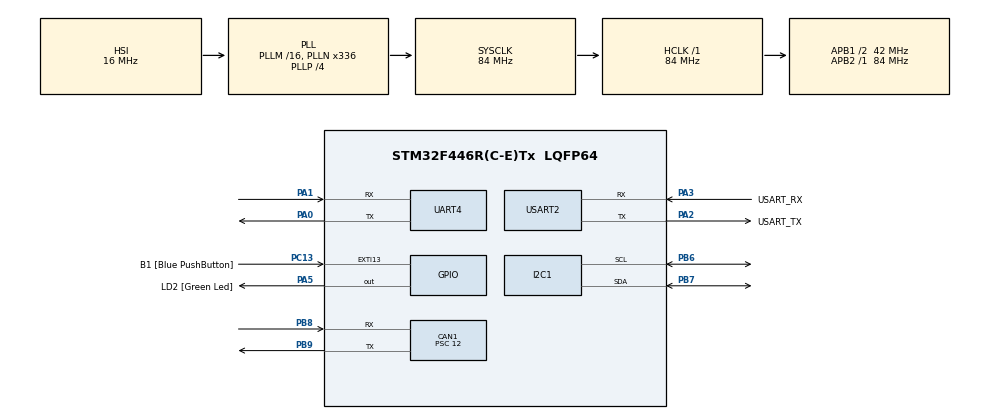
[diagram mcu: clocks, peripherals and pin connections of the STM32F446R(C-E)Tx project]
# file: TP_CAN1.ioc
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CAN1.BS1=CAN_BS1_3TQ
CAN1.BS2=CAN_BS2_3TQ
CAN1.CalculateBaudRate=500000
CAN1.CalculateTimeBit=2000
CAN1.CalculateTimeQuantum=285.7142857142857
CAN1.Prescaler=12
Mcu.Family=STM32F4
Mcu.Name=STM32F446R(C-E)Tx
Mcu.Package=LQFP64
NVIC.PriorityGroup=NVIC_PRIORITYGROUP_0
NVIC.UART4_IRQn=true\:0\:0\:false\:false\:true\:true\:true\:true
PA0-WKUP.Mode=Asynchronous
PA0-WKUP.Signal=UART4_TX
PA1.Mode=Asynchronous
PA1.Signal=UART4_RX
PA13.GPIO_Label=TMS
PA13.Mode=Serial_Wire
PA13.Signal=SYS_JTMS-SWDIO
PA14.GPIO_Label=TCK
PA14.Mode=Serial_Wire
PA14.Signal=SYS_JTCK-SWCLK
PA2.GPIO_Label=USART_TX
PA2.Mode=Asynchronous
PA2.Signal=USART2_TX
PA3.GPIO_Label=USART_RX
PA3.Mode=Asynchronous
PA3.Signal=USART2_RX
PA5.GPIO_Label=LD2 [Green Led]
PA5.Signal=GPIO_Output
PB3.GPIO_Label=SWO
PB3.Signal=SYS_JTDO-SWO
PB6.Mode=I2C
PB6.Signal=I2C1_SCL
PB7.Mode=I2C
PB7.Signal=I2C1_SDA
PB8.Mode=CAN_Activate
PB8.Signal=CAN1_RX
PB9.Mode=CAN_Activate
PB9.Signal=CAN1_TX
PC13.GPIO_Label=B1 [Blue PushButton]
PC13.GPIO_ModeDefaultEXTI=GPIO_MODE_IT_FALLING
PC13.Signal=GPXTI13
PC14-OSC32_IN.Mode=LSE-External-Oscillator
PC14-OSC32_IN.Signal=RCC_OSC32_IN
PC15-OSC32_OUT.Mode=LSE-External-Oscillator
PC15-OSC32_OUT.Signal=RCC_OSC32_OUT
PH0-OSC_IN.Mode=HSE-External-Oscillator
PH0-OSC_IN.Signal=RCC_OSC_IN
PH1-OSC_OUT.Mode=HSE-External-Oscillator
PH1-OSC_OUT.Signal=RCC_OSC_OUT
ProjectManager.HeapSize=0x200
ProjectManager.StackSize=0x400
ProjectManager.TargetToolchain=STM32CubeIDE
RCC.48MHZClocksFreq_Value=84000000
RCC.AHBFreq_Value=84000000
RCC.APB1CLKDivider=RCC_HCLK_DIV2
RCC.APB1Freq_Value=42000000
RCC.APB1TimFreq_Value=84000000
RCC.APB2Freq_Value=84000000
RCC.APB2TimFreq_Value=84000000
RCC.CortexFreq_Value=84000000
RCC.FLatency-AdvancedSettings=FLASH_LATENCY_2
RCC.HCLKFreq_Value=84000000
RCC.HSE_VALUE=8000000
RCC.HSI_VALUE=16000000
RCC.PLLN=336
RCC.PLLP=RCC_PLLP_DIV4
RCC.SYSCLKFreq_VALUE=84000000
RCC.SYSCLKSource=RCC_SYSCLKSOURCE_PLLCLK
RCC.USBFreq_Value=168000000
RCC.VCOOutputFreq_Value=336000000
UART4.VirtualMode=Asynchronous
USART2.VirtualMode=VM_ASYNC
board=NUCLEO-F446RE

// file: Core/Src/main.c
/* USER CODE BEGIN Header */
/**
 ******************************************************************************
 * @file           : main.c
 * @brief          : Main program body
 ******************************************************************************
 * @attention
 *
 * Copyright (c) 2023 STMicroelectronics.
 * All rights reserved.
 *
 * This software is licensed under terms that can be found in the LICENSE file
 * in the root directory of this software component.
 * If no LICENSE file comes with this software, it is provided AS-IS.
 *
 ******************************************************************************
 */
/* USER CODE END Header */
#include "main.h"
#include "can.h"
#include "i2c.h"
#include "usart.h"
#include "gpio.h"

/* USER CODE BEGIN Includes */
#include "drv_bmp280.h"
#include "stdio.h"
#include "string.h"
/* USER CODE END Includes */

/* USER CODE BEGIN PD */
//HAL_StatusTypeDef HAL_OK;

#define RX_BUFFER_SIZE  50
char rxData[RX_BUFFER_SIZE];
char receivedChar;
int32_t coef_temperature;
/* USER CODE END PD */

/* USER CODE BEGIN PV */

//uint8_t temp_calib[3];
//uint8_t press_calib[3];
/* USER CODE END PV */

void SystemClock_Config(void);
/* USER CODE BEGIN PFP */

void HAL_UART_RxCpltCallback(UART_HandleTypeDef *huart){
	if (huart->Instance == UART4){

		BMP280_S32_t temperature_COMP;
		BMP280_S32_t rawTemperature;
		BMP280_S32_t rawPressure;
		BMP280_S32_t pressure_COMP;

		// Ajouter le caractère reçu au tampon
		static uint8_t rxIndex = 0;
		rxData[rxIndex++] = receivedChar;

		if (rxIndex >= 5) {

			if (strncmp(rxData, "GET_T", 5) == 0) {
				//printf("caractere reçu : %c", rxData);
				rawTemperature = BMP280_get_temperature();
				temperature_COMP = BMP280_compensate_temp(rawTemperature);
				HAL_UART_Transmit(&huart4, temperature_COMP, sizeof(temperature_COMP), HAL_MAX_DELAY);
			}

			else if (strncmp(rxData, "GET_P", 5) == 0) {
				rawPressure = BMP280_get_pressure();
				pressure_COMP = BMP280_compensate_press(rawPressure);
				HAL_UART_Transmit(&huart4, pressure_COMP, sizeof(pressure_COMP), HAL_MAX_DELAY);

			}
			else if (strncmp(rxData, "SET_K=1234", 10) == 0){

			}
			else if (strncmp(rxData, "GET_K", 5) == 0){

				HAL_UART_Transmit(&huart4, coef_temperature, sizeof(coef_temperature), HAL_MAX_DELAY);

			}

			else if (strncmp(rxData, "GET_A", 5) == 0) {

			}
			// Réinitialiser l'index pour la prochaine réception
			rxIndex = 0;
		}

		// Continuez à attendre le prochain caractère
		HAL_UART_Receive_IT(&huart4, &receivedChar, 1);
	}
}
/* USER CODE END PFP */

int main(void)
{

	/* MCU Configuration--------------------------------------------------------*/

	/* Reset of all peripherals, Initializes the Flash interface and the Systick. */
	HAL_Init();

	/* USER CODE BEGIN Init */
	//int32_t 			  coef_temperature;
	CAN_TxHeaderTypeDef   pHeader;
	uint8_t               aData[8];
	uint32_t              TxMailbox;

	BMP280_S32_t compensated_temperature;
	BMP280_S32_t temp;
	BMP280_S32_t press;
	BMP280_S32_t compensated_pressure;

	int temp_max = 35;
	int angle_max = 180;

	/* USER CODE END Init */

	/* Configure the system clock */
	SystemClock_Config();

	/* Initialize all configured peripherals */
	MX_GPIO_Init();
	MX_USART2_UART_Init();
	MX_CAN1_Init();
	MX_I2C1_Init();
	MX_UART4_Init();
	/* USER CODE BEGIN 2 */

	BMP280_check();
	BMP280_init();

	//HAL_CAN_Init(&hcan1);

	HAL_CAN_Start (&hcan1);

	pHeader.IDE = CAN_ID_STD;
	pHeader.StdId = 0x61;
	pHeader.RTR = CAN_RTR_DATA;
	pHeader.DLC = 2;
	pHeader.TransmitGlobalTime = DISABLE;

	aData[0] = 0x01;
	aData[1] = 0x01;

	//HAL_CAN_AddTxMessage (&hcan1, &pHeader, aData, &TxMailbox);

	/* USER CODE END 2 */

	/* Infinite loop */
	while (1)
	{

		/* USER CODE BEGIN 3 */
		press = BMP280_get_pressure();
		temp = BMP280_get_temperature();

		compensated_temperature = BMP280_compensate_temp(temp);
		coef_temperature = compensated_temperature/100;
		printf("Compensated Temperature: %ld\r\n", compensated_temperature/100);

		coef_temperature = (coef_temperature - 23) * ((angle_max)/(temp_max-23));
		printf("Coeff Temperature: %ld\r\n", coef_temperature);

		aData[0] = coef_temperature;

		HAL_CAN_AddTxMessage (&hcan1, &pHeader, aData, &TxMailbox);

		//printf("temperature = %ld",coef_temperature);
		//aData[0] = aData[0] + compensated_temperature/100;

		compensated_pressure = BMP280_compensate_press(press);
		printf("Compensated Pressure: %ld\r\n", compensated_pressure/256);

		HAL_Delay(500);

		/*
		if (HAL_CAN_AddTxMessage(&hcan1, &TxHeader, TxData, &TxMailbox) != HAL_OK)
		{
		   Error_Handler ();
		}
		 */
	}
	/* USER CODE END 3 */
}

void SystemClock_Config(void)
{
	RCC_OscInitTypeDef RCC_OscInitStruct = {0};
	RCC_ClkInitTypeDef RCC_ClkInitStruct = {0};

	/** Configure the main internal regulator output voltage
	 */
	__HAL_RCC_PWR_CLK_ENABLE();
	__HAL_PWR_VOLTAGESCALING_CONFIG(PWR_REGULATOR_VOLTAGE_SCALE3);

	/** Initializes the RCC Oscillators according to the specified parameters
	 * in the RCC_OscInitTypeDef structure.
	 */
	RCC_OscInitStruct.OscillatorType = RCC_OSCILLATORTYPE_HSI;
	RCC_OscInitStruct.HSIState = RCC_HSI_ON;
	RCC_OscInitStruct.HSICalibrationValue = RCC_HSICALIBRATION_DEFAULT;
	RCC_OscInitStruct.PLL.PLLState = RCC_PLL_ON;
	RCC_OscInitStruct.PLL.PLLSource = RCC_PLLSOURCE_HSI;
	RCC_OscInitStruct.PLL.PLLM = 16;
	RCC_OscInitStruct.PLL.PLLN = 336;
	RCC_OscInitStruct.PLL.PLLP = RCC_PLLP_DIV4;
	RCC_OscInitStruct.PLL.PLLQ = 2;
	RCC_OscInitStruct.PLL.PLLR = 2;
	if (HAL_RCC_OscConfig(&RCC_OscInitStruct) != HAL_OK)
	{
		Error_Handler();
	}

	/** Initializes the CPU, AHB and APB buses clocks
	 */
	RCC_ClkInitStruct.ClockType = RCC_CLOCKTYPE_HCLK|RCC_CLOCKTYPE_SYSCLK
			|RCC_CLOCKTYPE_PCLK1|RCC_CLOCKTYPE_PCLK2;
	RCC_ClkInitStruct.SYSCLKSource = RCC_SYSCLKSOURCE_PLLCLK;
	RCC_ClkInitStruct.AHBCLKDivider = RCC_SYSCLK_DIV1;
	RCC_ClkInitStruct.APB1CLKDivider = RCC_HCLK_DIV2;
	RCC_ClkInitStruct.APB2CLKDivider = RCC_HCLK_DIV1;

	if (HAL_RCC_ClockConfig(&RCC_ClkInitStruct, FLASH_LATENCY_2) != HAL_OK)
	{
		Error_Handler();
	}
}

void Error_Handler(void)
{
	__disable_irq();
	while (1)
	{
	}
}
